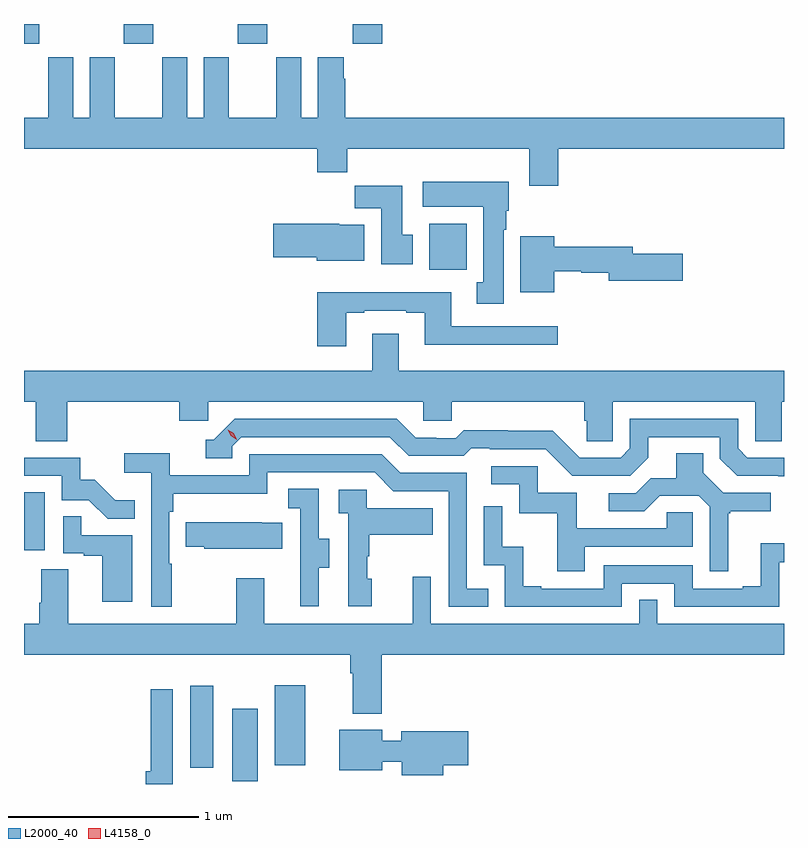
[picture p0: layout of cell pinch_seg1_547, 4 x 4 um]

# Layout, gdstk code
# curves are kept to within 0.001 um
import gdstk
lib = gdstk.Library(unit=1e-6, precision=1e-09)
def R(c, l, rs):  # rectangles x0, y0, x1, y1
    for r in rs: c.add(gdstk.rectangle(r[:2], r[2:], *l))
def P(c, l, *ps):  # polygons
    for p in ps: c.add(gdstk.Polygon(p, *l))
L2000_40 = (2000, 40)
L4158_0 = (4158, 0)

pinch_seg1_547 = lib.new_cell('pinch_seg1_547')
R(pinch_seg1_547, L2000_40, [(1035.38,531.088,1035.514,531.469), (1035.158,531.159,1035.28,531.589), (1035.602,531.171,1035.763,531.592), (1034.283,532.302,1034.392,532.609), (1036.415,533.78,1036.612,534.022), (1034.283,534.969,1034.364,535.073), (1034.809,534.969,1034.964,535.073), (1035.409,534.969,1035.564,535.073), (1036.013,534.969,1036.169,535.073)])
P(pinch_seg1_547, L2000_40, [(1037.096,534.416),(1038.283,534.416),(1038.283,534.58),(1035.974,534.58),(1035.974,534.785),(1035.967,534.785),(1035.967,534.898),(1035.83,534.898),(1035.83,534.58),(1035.742,534.58),(1035.742,534.898),(1035.611,534.898),(1035.611,534.58),(1035.361,534.58),(1035.361,534.898),(1035.23,534.898),(1035.23,534.58),(1035.142,534.58),(1035.142,534.898),(1035.011,534.898),(1035.011,534.58),(1034.761,534.58),(1034.761,534.898),(1034.63,534.898),(1034.63,534.58),(1034.542,534.58),(1034.542,534.898),(1034.411,534.898),(1034.411,534.58),(1034.283,534.58),(1034.283,534.416),(1035.827,534.416),(1035.827,534.292),(1035.983,534.292),(1035.983,534.416),(1036.943,534.416),(1036.943,534.222),(1037.096,534.222)],
  [(1036.807,533.99),(1036.822,533.99),(1036.822,534.09),(1036.834,534.09),(1036.834,534.244),(1036.382,534.244),(1036.382,534.11),(1036.7,534.11),(1036.7,533.714),(1036.667,533.714),(1036.667,533.601),(1036.807,533.601)],
  [(1036.33,533.964),(1036.273,533.964),(1036.273,534.223),(1036.024,534.223),(1036.024,534.104),(1036.163,534.104),(1036.163,533.808),(1036.33,533.808)],
  [(1036.075,534.016),(1035.942,534.016),(1035.942,534.022),(1035.594,534.022),(1035.594,533.846),(1035.824,533.846),(1035.824,533.828),(1036.075,533.828)],
  [(1037.074,533.772),(1037.217,533.772),(1037.217,533.764),(1037.36,533.764),(1037.36,533.722),(1037.749,533.722),(1037.749,533.864),(1037.488,533.864),(1037.488,533.9),(1037.074,533.9),(1037.074,533.956),(1036.895,533.956),(1036.895,533.66),(1037.074,533.66)],
  [(1035.979,533.553),(1036.075,533.553),(1036.075,533.565),(1036.295,533.565),(1036.295,533.553),(1036.391,533.553),(1036.391,533.384),(1037.092,533.384),(1037.092,533.481),(1036.531,533.481),(1036.531,533.662),(1035.827,533.662),(1035.827,533.376),(1035.979,533.376)],
  [(1034.51,533.084),(1035.101,533.084),(1035.101,532.986),(1035.252,532.986),(1035.252,533.084),(1036.383,533.084),(1036.383,532.986),(1036.533,532.986),(1036.533,533.084),(1037.231,533.084),(1037.231,532.986),(1037.245,532.986),(1037.245,532.876),(1037.382,532.876),(1037.382,533.084),(1038.132,533.084),(1038.132,532.876),(1038.271,532.876),(1038.271,533.084),(1038.283,533.084),(1038.283,533.248),(1036.255,533.248),(1036.255,533.443),(1036.115,533.443),(1036.115,533.248),(1034.283,533.248),(1034.283,533.084),(1034.345,533.084),(1034.345,532.876),(1034.51,532.876)],
  [(1038.283,532.791),(1038.09,532.791),(1038.042,532.839),(1038.042,532.995),(1037.472,532.995),(1037.472,532.839),(1037.424,532.791),(1037.208,532.791),(1037.066,532.933),(1036.83,532.933),(1036.83,532.936),(1036.597,532.936),(1036.555,532.893),(1036.452,532.893),(1036.452,532.896),(1036.345,532.896),(1036.246,532.995),(1035.393,532.995),(1035.282,532.884),(1035.239,532.884),(1035.239,532.788),(1035.378,532.788),(1035.378,532.851),(1035.426,532.899),(1036.209,532.899),(1036.308,532.8),(1036.597,532.8),(1036.636,532.839),(1036.735,532.839),(1036.735,532.836),(1037.028,532.836),(1037.169,532.695),(1037.475,532.695),(1037.569,532.789),(1037.569,532.899),(1037.946,532.899),(1037.946,532.785),(1038.036,532.695),(1038.283,532.694)],
  [(1037.989,532.497),(1038.001,532.497),(1038.001,532.508),(1038.214,532.508),(1038.214,532.605),(1037.964,532.605),(1037.857,532.712),(1037.857,532.814),(1037.717,532.814),(1037.717,532.682),(1037.582,532.682),(1037.502,532.602),(1037.361,532.602),(1037.361,532.509),(1037.548,532.509),(1037.629,532.59),(1037.835,532.59),(1037.892,532.533),(1037.892,532.194),(1037.989,532.194)],
  [(1035.061,532.232),(1035.048,532.232),(1035.048,532.505),(1035.068,532.505),(1035.068,532.601),(1035.564,532.601),(1035.564,532.713),(1036.128,532.713),(1036.227,532.614),(1036.518,532.614),(1036.518,532.005),(1036.727,532.005),(1036.727,532.101),(1036.614,532.101),(1036.614,532.71),(1036.264,532.71),(1036.165,532.809),(1035.468,532.809),(1035.468,532.698),(1035.05,532.698),(1035.05,532.814),(1034.811,532.814),(1034.811,532.712),(1034.952,532.712),(1034.952,532.005),(1035.061,532.005)],
  [(1034.867,532.567),(1034.763,532.567),(1034.656,532.674),(1034.58,532.674),(1034.58,532.791),(1034.283,532.791),(1034.283,532.695),(1034.481,532.695),(1034.481,532.566),(1034.625,532.566),(1034.723,532.468),(1034.867,532.468)],
  [(1037.233,532.323),(1037.802,532.323),(1037.802,532.503),(1037.665,532.503),(1037.665,532.419),(1037.191,532.419),(1037.191,532.605),(1036.986,532.605),(1036.986,532.746),(1036.743,532.746),(1036.743,532.65),(1036.89,532.65),(1036.89,532.497),(1037.089,532.497),(1037.089,532.194),(1037.233,532.194)],
  [(1035.835,532.21),(1035.889,532.21),(1035.889,532.365),(1035.834,532.365),(1035.834,532.628),(1035.675,532.628),(1035.675,532.525),(1035.738,532.525),(1035.738,532.221),(1035.737,532.221),(1035.737,532.008),(1035.835,532.008)],
  [(1036.114,532.152),(1036.089,532.152),(1036.089,532.271),(1036.099,532.271),(1036.099,532.385),(1036.433,532.385),(1036.433,532.525),(1036.086,532.525),(1036.086,532.623),(1035.939,532.623),(1035.939,532.499),(1035.99,532.499),(1035.99,532.008),(1036.114,532.008)],
  [(1037.43,532.128),(1037.706,532.128),(1037.706,532.005),(1038.258,532.005),(1038.258,532.241),(1038.283,532.241),(1038.283,532.339),(1038.161,532.339),(1038.161,532.114),(1038.065,532.114),(1038.065,532.101),(1037.802,532.101),(1037.802,532.224),(1037.334,532.224),(1037.334,532.101),(1037.005,532.101),(1037.005,532.114),(1036.91,532.114),(1036.91,532.322),(1036.8,532.322),(1036.8,532.534),(1036.704,532.534),(1036.704,532.224),(1036.812,532.224),(1036.812,532.005),(1037.43,532.005)],
  [(1034.854,532.383),(1034.585,532.383),(1034.585,532.481),(1034.49,532.481),(1034.49,532.287),(1034.597,532.287),(1034.597,532.275),(1034.696,532.275),(1034.696,532.032),(1034.854,532.032)],
  [(1035.641,532.447),(1035.533,532.447),(1035.533,532.45),(1035.133,532.45),(1035.133,532.321),(1035.231,532.321),(1035.231,532.31),(1035.641,532.31)],
  [(1036.166,531.752),(1038.283,531.752),(1038.283,531.916),(1037.616,531.916),(1037.616,532.043),(1037.52,532.043),(1037.52,531.916),(1036.425,531.916),(1036.425,532.165),(1036.328,532.165),(1036.328,531.916),(1035.547,531.916),(1035.547,532.156),(1035.4,532.156),(1035.4,531.916),(1034.515,531.916),(1034.515,532.202),(1034.375,532.202),(1034.375,532.028),(1034.363,532.028),(1034.363,531.916),(1034.283,531.916),(1034.283,531.752),(1036.001,531.752),(1036.001,531.656),(1036.013,531.656),(1036.013,531.443),(1036.166,531.443)],
  [(1035.066,531.571),(1034.95,531.571),(1034.95,531.139),(1034.924,531.139),(1034.924,531.073),(1035.066,531.073)],
  [(1036.489,531.173),(1036.621,531.173),(1036.621,531.351),(1036.268,531.351),(1036.268,531.301),(1036.168,531.301),(1036.168,531.358),(1035.941,531.358),(1035.941,531.146),(1036.168,531.146),(1036.168,531.189),(1036.272,531.189),(1036.272,531.119),(1036.489,531.119)])
P(pinch_seg1_547, L4158_0, [(1035.402,532.885),(1035.372,532.905),(1035.356,532.938),(1035.356,532.938),(1035.356,532.938),(1035.387,532.918),(1035.403,532.886),(1035.403,532.885)])

lib.write_gds('pinch_seg1_547.gds')
